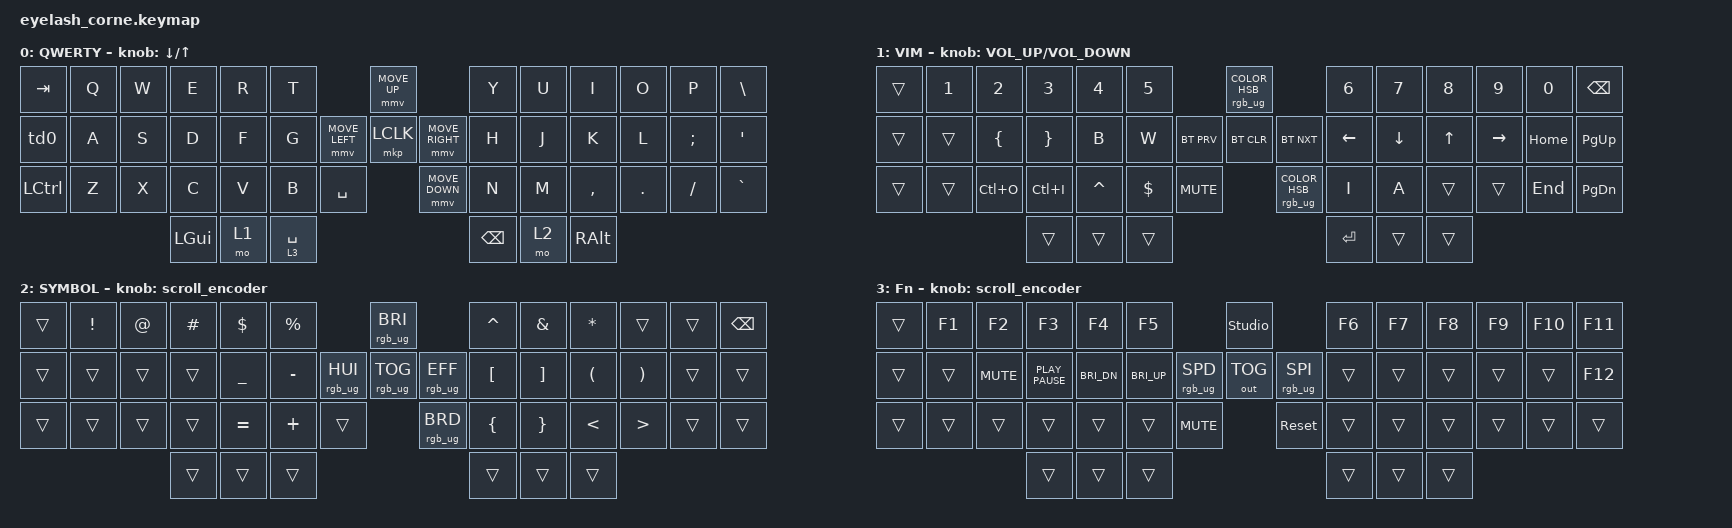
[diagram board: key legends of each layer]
#define ZMK_POINTING_DEFAULT_MOVE_VAL 1200  // 600
#define ZMK_POINTING_DEFAULT_SCRL_VAL 25   // 10

#include <input/processors.dtsi>
#include <zephyr/dt-bindings/input/input-event-codes.h>
#include <behaviors.dtsi>
#include <dt-bindings/zmk/bt.h>
#include <dt-bindings/zmk/keys.h>
#include <dt-bindings/zmk/outputs.h>
#include <dt-bindings/zmk/pointing.h>
#include <dt-bindings/zmk/rgb.h>

&mmv_input_listener { input-processors = <&zip_xy_scaler 2 1>; };

&msc_input_listener { input-processors = <&zip_scroll_scaler 2 1>; };

&msc {
    acceleration-exponent = <1>;      // 0
    time-to-max-speed-ms = <100>;       // 300
    delay-ms = <0>;                   // 0
};

&mmv {
    time-to-max-speed-ms = <500>;
    acceleration-exponent = <1>;
    trigger-period-ms = <16>;
};

&soft_off { hold-time-ms = <2000>; };

/ {
    behaviors {
        td0: td0 {
            compatible = "zmk,behavior-tap-dance";
            display-name = "Shift/Caps Lock Tap Dance";
            #binding-cells = <0>;
            bindings = <&kp LEFT_SHIFT>, <&kp CAPS>;
        };
    };

    rgb_encoder: rgb_encoder {
        compatible = "zmk,behavior-sensor-rotate";
        #sensor-binding-cells = <0>;
        bindings = <&rgb_ug RGB_BRI>, <&rgb_ug RGB_BRD>;
    };

    scroll_encoder: scroll_encoder {
        compatible = "zmk,behavior-sensor-rotate";
        #sensor-binding-cells = <0>;
        bindings = <&msc SCRL_DOWN>, <&msc SCRL_UP>;

        tap-ms = <100>;
    };

    combos {
        compatible = "zmk,combos";

        softoff {
            bindings = <&soft_off>;
            key-positions = <1 15 29>;
        };

        jf_escape {
            bindings = <&kp ESCAPE>;
            key-positions = <17 23>;
        };
    };

    keymap {
        compatible = "zmk,keymap";

        default_layer {
            display-name = "QWERTY";
            bindings = <
&kp TAB    &kp Q  &kp W  &kp E     &kp R  &kp T                                     &mmv MOVE_UP                     &kp Y          &kp U  &kp I      &kp O    &kp P     &kp BACKSLASH
&td0       &kp A  &kp S  &kp D     &kp F  &kp G                     &mmv MOVE_LEFT  &mkp LCLK       &mmv MOVE_RIGHT  &kp H          &kp J  &kp K      &kp L    &kp SEMI  &kp SQT
&kp LCTRL  &kp Z  &kp X  &kp C     &kp V  &kp B        &kp SPACE                    &mmv MOVE_DOWN                   &kp N          &kp M  &kp COMMA  &kp DOT  &kp FSLH  &kp GRAVE
                         &kp LGUI  &mo 1  &lt 3 SPACE                                                                &kp BACKSPACE  &mo 2  &kp RALT
            >;

            sensor-bindings = <&inc_dec_kp DOWN UP>;
        };

        lower_layer {
            display-name = "VIM";
            bindings = <
&trans  &kp N1  &kp N2          &kp N3           &kp N4     &kp N5                                &rgb_ug RGB_COLOR_HSB(0,0,100)               &kp N6     &kp N7    &kp N8  &kp N9     &kp N0    &kp BSPC
&trans  &trans  &kp LEFT_BRACE  &kp RIGHT_BRACE  &kp B      &kp W                     &bt BT_PRV  &bt BT_CLR                       &bt BT_NXT  &kp LEFT   &kp DOWN  &kp UP  &kp RIGHT  &kp HOME  &kp PG_UP
&trans  &trans  &kp LC(O)       &kp LC(I)        &kp CARET  &kp DOLLAR  &kp C_MUTE                &rgb_ug RGB_COLOR_HSB(0,100,50)              &kp I      &kp A     &trans  &trans     &kp END   &kp PG_DN
                                &trans           &trans     &trans                                                                             &kp ENTER  &trans    &trans
            >;

            sensor-bindings = <&inc_dec_kp C_VOLUME_UP C_VOLUME_DOWN>;
        };

        raise_layer {
            display-name = "SYMBOL";
            bindings = <
&trans  &kp EXCL  &kp AT  &kp HASH  &kp DLLR        &kp PRCNT                             &rgb_ug RGB_BRI                   &kp CARET         &kp AMPS           &kp ASTRK             &trans                 &trans  &kp BSPC
&trans  &trans    &trans  &trans    &kp UNDERSCORE  &kp MINUS            &rgb_ug RGB_HUI  &rgb_ug RGB_TOG  &rgb_ug RGB_EFF  &kp LEFT_BRACKET  &kp RIGHT_BRACKET  &kp LEFT_PARENTHESIS  &kp RIGHT_PARENTHESIS  &trans  &trans
&trans  &trans    &trans  &trans    &kp EQUAL       &kp PLUS   &trans                     &rgb_ug RGB_BRD                   &kp LEFT_BRACE    &kp RIGHT_BRACE    &kp LESS_THAN         &kp GREATER_THAN       &trans  &trans
                          &trans    &trans          &trans                                                                  &trans            &trans             &trans
            >;

            sensor-bindings = <&scroll_encoder>;
        };

        layer_3 {
            display-name = "Fn";
            bindings = <
&trans  &kp F1  &kp F2      &kp F3            &kp F4        &kp F5                                       &studio_unlock                   &kp F6  &kp F7  &kp F8  &kp F9  &kp F10  &kp F11
&trans  &trans  &kp C_MUTE  &kp K_PLAY_PAUSE  &kp C_BRI_DN  &kp C_BRI_UP                &rgb_ug RGB_SPD  &out OUT_TOG    &rgb_ug RGB_SPI  &trans  &trans  &trans  &trans  &trans   &kp F12
&trans  &trans  &trans      &trans            &trans        &trans        &kp C_MUTE                     &sys_reset                       &trans  &trans  &trans  &trans  &trans   &trans
                            &trans            &trans        &trans                                                                        &trans  &trans  &trans
            >;

            sensor-bindings = <&scroll_encoder>;
        };
    };
};
